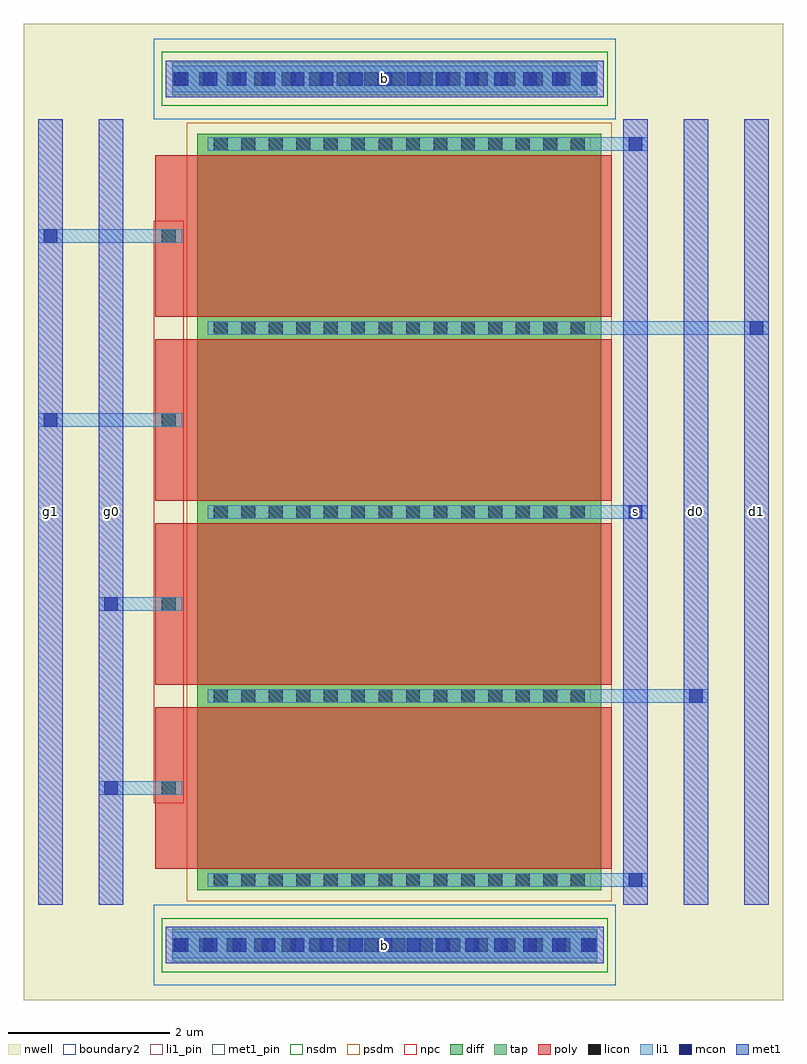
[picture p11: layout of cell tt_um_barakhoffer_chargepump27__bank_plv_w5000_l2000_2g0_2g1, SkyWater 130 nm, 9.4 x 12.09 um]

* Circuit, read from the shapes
.subckt tt_um_barakhoffer_chargepump27__bank_plv_w5000_l2000_2g0_2g1 b d0 d1 g0 g1 s
XM1 d0 g0 s b sky130_fd_pr__pfet_01v8 w=5 l=2 m=2
XM2 d1 g1 s b sky130_fd_pr__pfet_01v8 w=5 l=2 m=2
.ends

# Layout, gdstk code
import gdstk
lib = gdstk.Library(unit=1e-6, precision=1e-09)
def R(c, l, rs):  # rectangles x0, y0, x1, y1
    for r in rs: c.add(gdstk.rectangle(r[:2], r[2:], *l))
def A(c, l, x, y, w, h, nx, ny, dx, dy):  # array of equal rectangles
    R(c, l, [(x+i*dx, y+j*dy, x+i*dx+w, y+j*dy+h) for i in range(nx) for j in range(ny)])
nwell = (64, 20)
diff = (65, 20)
tap = (65, 44)
poly = (66, 20)
licon = (66, 44)
li1_pin = (67, 16)
li1 = (67, 20)
mcon = (67, 44)
met1_pin = (68, 16)
met1 = (68, 20)
nsdm = (93, 44)
psdm = (94, 20)
npc = (95, 20)
boundary2 = (236, 0)

tt_um_barakhoffer_charge = lib.new_cell('tt_um_barakhoffer_chargepump27__mos_17')
R(tt_um_barakhoffer_charge, nwell, [(-0.18,-0.18,5.18,9.55)])
A(tt_um_barakhoffer_charge, diff, 0.145, 0, 4.71, 0.25, 1, 5, 0, 2.28)
R(tt_um_barakhoffer_charge, diff, [(0,0,5,9.37)])
A(tt_um_barakhoffer_charge, poly, -0.52, 0.265, 0.33, 2, 1, 4, 0, 2.28)
A(tt_um_barakhoffer_charge, poly, -0.19, 0.265, 5.32, 2, 1, 4, 0, 2.28)
A(tt_um_barakhoffer_charge, poly, -0.52, 1.13, 0.33, 0.27, 1, 4, 0, 2.28)
A(tt_um_barakhoffer_charge, licon, 0.205, 0.04, 0.17, 0.17, 14, 5, 0.34, 2.28)
A(tt_um_barakhoffer_charge, licon, -0.44, 1.18, 0.17, 0.17, 1, 4, 0, 2.28)
A(tt_um_barakhoffer_charge, li1_pin, 0.125, 0.04, 4.75, 0.17, 1, 5, 0, 2.28)
A(tt_um_barakhoffer_charge, li1_pin, -0.52, 1.18, 0.33, 0.17, 1, 4, 0, 2.28)
R(tt_um_barakhoffer_charge, li1, [(0.125,0.04,4.875,0.21), (0.125,0.04,4.875,0.21), (-0.52,1.18,-0.19,1.35), (-0.52,1.18,-0.19,1.35), (0.125,2.32,4.875,2.49), (0.125,2.32,4.875,2.49), (-0.52,3.46,-0.19,3.63), (-0.52,3.46,-0.19,3.63), (0.125,4.6,4.875,4.77), (0.125,4.6,4.875,4.77), (-0.52,5.74,-0.19,5.91), (-0.52,5.74,-0.19,5.91), (0.125,6.88,4.875,7.05), (0.125,6.88,4.875,7.05), (-0.52,8.02,-0.19,8.19), (-0.52,8.02,-0.19,8.19), (0.125,9.16,4.875,9.33), (0.125,9.16,4.875,9.33)])
R(tt_um_barakhoffer_charge, psdm, [(-0.135,-0.135,5.135,9.505)])
A(tt_um_barakhoffer_charge, npc, -0.54, 1.08, 0.37, 0.37, 1, 4, 0, 2.28)
R(tt_um_barakhoffer_charge, npc, [(-0.54,1.08,-0.17,8.29)])
tt_um_barakhoffer_charge.add(gdstk.Label('gate_0', (-0.355,1.265), layer=67, texttype=5))
tt_um_barakhoffer_charge.add(gdstk.Label('sd_0_3', (2.5,6.965), layer=67, texttype=5))
tt_um_barakhoffer_charge.add(gdstk.Label('sd_0_1', (2.5,2.405), layer=67, texttype=5))
tt_um_barakhoffer_charge.add(gdstk.Label('sd_0_4', (2.5,9.245), layer=67, texttype=5))
tt_um_barakhoffer_charge.add(gdstk.Label('gate_3', (-0.355,8.105), layer=67, texttype=5))
tt_um_barakhoffer_charge.add(gdstk.Label('sd_0_0', (2.5,0.125), layer=67, texttype=5))
tt_um_barakhoffer_charge.add(gdstk.Label('gate_2', (-0.355,5.825), layer=67, texttype=5))
tt_um_barakhoffer_charge.add(gdstk.Label('gate_1', (-0.355,3.545), layer=67, texttype=5))
tt_um_barakhoffer_charge.add(gdstk.Label('sd_0_2', (2.5,4.685), layer=67, texttype=5))

c_tt_um_barakhoffer_charge = lib.new_cell('tt_um_barakhoffer_chargepump27__bank_plv_w5000_l2000_2g0_2g1')
R(c_tt_um_barakhoffer_charge, nwell, [(-1.61,-0.18,7.795,11.91)])
R(c_tt_um_barakhoffer_charge, tap, [(0.225,0.295,5.495,0.705), (0.225,11.025,5.495,11.435)])
A(c_tt_um_barakhoffer_charge, licon, 0.225, 0.415, 0.17, 0.17, 16, 2, 0.34, 10.73)
A(c_tt_um_barakhoffer_charge, li1, 0.665, 1.22, 5.45, 0.17, 1, 3, 0, 4.56)
A(c_tt_um_barakhoffer_charge, li1, 5.88, 1.22, 0.17, 0.17, 1, 3, 0, 4.56)
R(c_tt_um_barakhoffer_charge, li1, [(0.225,0.335,5.495,0.665), (0.255,0.415,5.465,0.585), (-0.68,2.36,0.35,2.53), (-0.615,2.36,-0.445,2.53), (0.665,3.5,6.865,3.67), (6.63,3.5,6.8,3.67), (-0.68,4.64,0.35,4.81), (-0.615,4.64,-0.445,4.81), (-1.43,6.92,0.35,7.09), (-1.365,6.92,-1.195,7.09), (0.665,8.06,7.615,8.23), (7.38,8.06,7.55,8.23), (-1.43,9.2,0.35,9.37), (-1.365,9.2,-1.195,9.37), (0.225,11.065,5.495,11.395), (0.255,11.145,5.465,11.315)])
A(c_tt_um_barakhoffer_charge, mcon, 0.255, 0.415, 0.17, 0.17, 15, 2, 0.36, 10.73)
A(c_tt_um_barakhoffer_charge, mcon, 5.88, 1.22, 0.17, 0.17, 1, 3, 0, 4.56)
R(c_tt_um_barakhoffer_charge, mcon, [(-0.615,2.36,-0.445,2.53), (6.63,3.5,6.8,3.67), (-0.615,4.64,-0.445,4.81), (-1.365,6.92,-1.195,7.09), (7.38,8.06,7.55,8.23), (-1.365,9.2,-1.195,9.37)])
A(c_tt_um_barakhoffer_charge, met1_pin, 5.815, 1, 0.3, 9.73, 3, 1, 0.75, 0)
R(c_tt_um_barakhoffer_charge, met1_pin, [(0.15,0.275,5.57,0.725), (-1.43,1,-1.13,10.73), (-0.68,1,-0.38,10.73), (0.15,11.005,5.57,11.455)])
A(c_tt_um_barakhoffer_charge, met1, 5.82, 1.19, 0.29, 0.23, 1, 3, 0, 4.56)
R(c_tt_um_barakhoffer_charge, met1, [(0.15,0.275,5.57,0.725), (0.15,0.275,5.57,0.725), (0.195,0.385,5.525,0.615), (-1.43,1,-1.13,10.73), (-1.43,1,-1.13,10.73), (-0.68,1,-0.38,10.73), (-0.68,1,-0.38,10.73), (5.815,1,6.115,10.73), (5.815,1,6.115,10.73), (6.565,1,6.865,10.73), (6.565,1,6.865,10.73), (7.315,1,7.615,10.73), (7.315,1,7.615,10.73), (-0.675,2.33,-0.385,2.56), (6.57,3.47,6.86,3.7), (-0.675,4.61,-0.385,4.84), (-1.425,6.89,-1.135,7.12), (7.32,8.03,7.61,8.26), (-1.425,9.17,-1.135,9.4), (0.15,11.005,5.57,11.455), (0.15,11.005,5.57,11.455), (0.195,11.115,5.525,11.345)])
R(c_tt_um_barakhoffer_charge, nsdm, [(0.095,0.165,5.625,0.835), (0.095,10.895,5.625,11.565)])
R(c_tt_um_barakhoffer_charge, boundary2, [(0,0,5.72,1), (0,10.73,5.72,11.73)])
c_tt_um_barakhoffer_charge.add(gdstk.Reference(tt_um_barakhoffer_charge, (0.54,1.18)))
c_tt_um_barakhoffer_charge.add(gdstk.Label('g0', (-0.53,5.865), layer=68, texttype=5))
c_tt_um_barakhoffer_charge.add(gdstk.Label('d0', (6.715,5.865), layer=68, texttype=5))
c_tt_um_barakhoffer_charge.add(gdstk.Label('g1', (-1.28,5.865), layer=68, texttype=5))
c_tt_um_barakhoffer_charge.add(gdstk.Label('b', (2.86,0.5), layer=68, texttype=5))
c_tt_um_barakhoffer_charge.add(gdstk.Label('b', (2.86,11.23), layer=68, texttype=5))
c_tt_um_barakhoffer_charge.add(gdstk.Label('d1', (7.465,5.865), layer=68, texttype=5))
c_tt_um_barakhoffer_charge.add(gdstk.Label('s', (5.965,5.865), layer=68, texttype=5))

lib.write_gds('tt_um_barakhoffer_chargepump27__bank_plv_w5000_l2000_2g0_2g1.gds')
